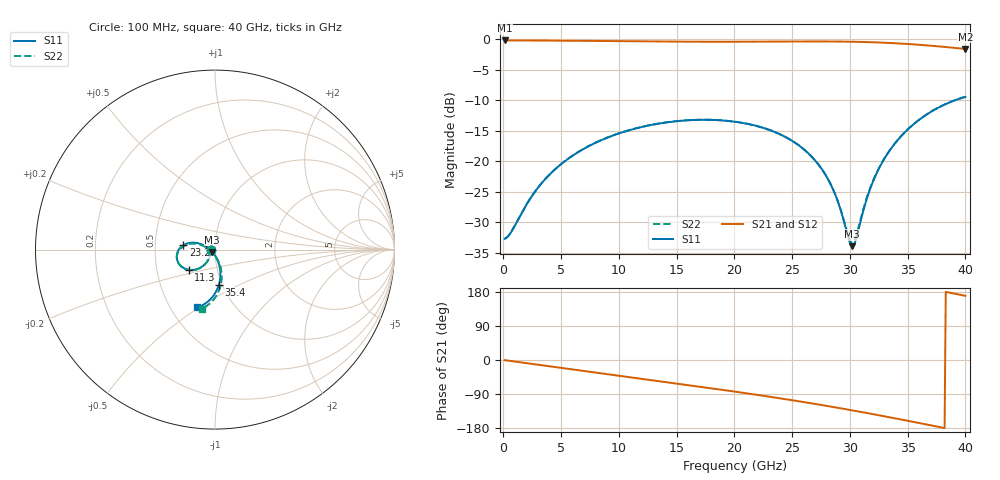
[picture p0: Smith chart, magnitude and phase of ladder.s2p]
! E_s8_L1L8_p800_round_g2: via ladder as kisi uses it (kisi_si::via_pbm, graded grid, junction model), differential mode (per line 50 ohm)
# Hz S RI R 50
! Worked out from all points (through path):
!   400 points, 100 MHz to 40 GHz, reference 50 ohm
!   highest |S21| = -0.20 dB at 100 MHz (marker M1); lowest = -1.6 dB at 40 GHz (marker M2)
!   group delay of S21, straight-line fit = 12.9 ps
!   lowest |S11| = -34.0 dB at 30.2 GHz (marker M3), VSWR 1.04, Z = 48.5 - j1.24 ohm
!   |S11| at or under -10 dB: start of sweep to 39.12 GHz
!   |S22| runs from -33.4 to -9.4 dB; largest |S21 - S12| = 0
!   S11 on the Smith chart (normalised r, x): 100 MHz: 0.96, -0.00; 11.3 GHz: 0.73, -0.17; 23.2 GHz: 0.70, +0.04; 35.4 GHz: 0.97, -0.39; 40 GHz: 0.68, -0.49
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1e8  -0.023 -0.00173  0.977 -0.00707  0.977 -0.00707  -0.023 -0.00173
6e8  -0.0235 -0.0104  0.976 -0.0424  0.976 -0.0424  -0.0234 -0.0104
2.2e9  -0.0291 -0.0373  0.9639 -0.1547  0.9639 -0.1547  -0.029 -0.0375
3.4e9  -0.0373 -0.0562  0.9459 -0.2373  0.9459 -0.2373  -0.0372 -0.0564
6.8e9  -0.0762 -0.0975  0.8556 -0.4575  0.8556 -0.4575  -0.0757 -0.0982
1.13e10  -0.1455 -0.1123  0.6597 -0.6994  0.6597 -0.6994  -0.1444 -0.1141
1.34e10  -0.1755 -0.1018  0.5447 -0.7878  0.5447 -0.7878  -0.1743 -0.1044
2.01e10  -0.2094 -0.0162  0.105 -0.9478  0.105 -0.9478  -0.2091 -0.0217
2.32e10  -0.1761 0.0243  -0.1267 -0.9479  -0.1267 -0.9479  -0.177 0.0183
2.51e10  -0.1397 0.0376  -0.2737 -0.9184  -0.2737 -0.9184  -0.1412 0.0319
2.67e10  -0.102 0.0372  -0.3974 -0.873  -0.3974 -0.873  -0.1036 0.0323
2.85e10  -0.0561 0.0206  -0.532 -0.797  -0.532 -0.797  -0.0574 0.0171
2.92e10  -0.0387 0.00897  -0.5817 -0.7598  -0.5817 -0.7598  -0.0396 0.00611
2.99e10  -0.0222 -0.00562  -0.6291 -0.7184  -0.6291 -0.7184  -0.0225 -0.0078
3.02e10  -0.0155 -0.0128  -0.6487 -0.6994  -0.6487 -0.6994  -0.0155 -0.0146
3.05e10  -0.00911 -0.0204  -0.6677 -0.6796  -0.6677 -0.6796  -0.00881 -0.022
3.13e10  0.00611 -0.0433  -0.7154 -0.6231  -0.7154 -0.6231  0.00748 -0.0441
3.19e10  0.0155 -0.0625  -0.7479 -0.5776  -0.7479 -0.5776  0.0178 -0.0629
3.34e10  0.0292 -0.1169  -0.8152 -0.4529  -0.8152 -0.4529  0.0347 -0.1162
3.54e10  0.0218 -0.1952  -0.868 -0.2699  -0.868 -0.2699  0.0326 -0.1945
3.76e10  -0.0213 -0.2719  -0.8728 -0.0618  -0.8728 -0.0618  -0.00394 -0.2735
4e10  -0.098 -0.322  -0.8177 0.1539  -0.8177 0.1539  -0.0743 -0.3289
